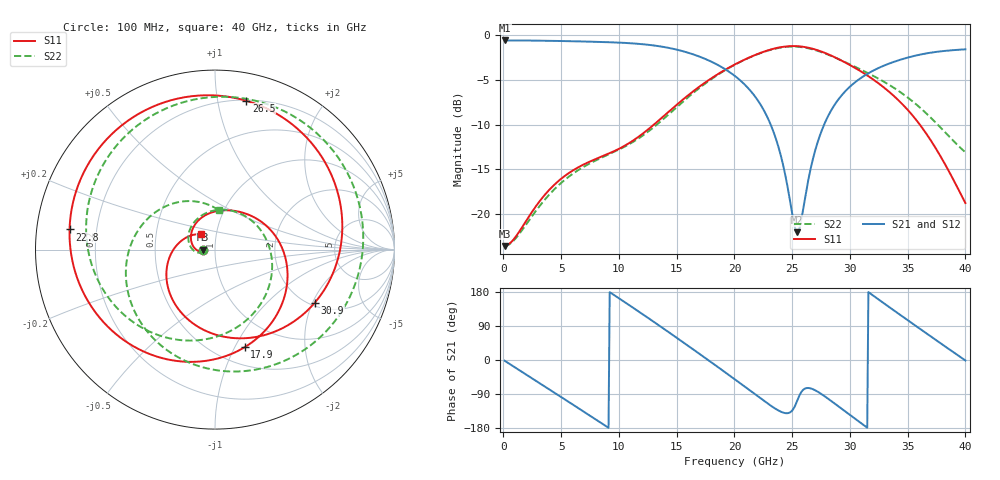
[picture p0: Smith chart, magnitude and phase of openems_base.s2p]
! B_ts6_L1L3_stub: ThunderScope stack: L1→In2, through via (stub to B.Cu)
! stackup: ThunderScope Rev5.3 6-layer (FR408HR / FR-4, from the board file)
! ports: 1, 2
! openEMS 0.37.0, staircase, base mesh (dfine 0.035 mm), 548856 cells
# Hz S RI R 50
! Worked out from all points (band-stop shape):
!   400 points, 100 MHz to 40 GHz, reference 50 ohm
!   highest |S21| = -0.60 dB at 100 MHz (marker M1); lowest = -22.0 dB at 25.4 GHz (marker M2)
!   |S21| within 3 dB of the highest: start of sweep to 18.93 GHz; 32.6 GHz to end of sweep
!   lowest |S11| = -23.5 dB at 100 MHz (marker M3), VSWR 1.14, Z = 43.8 - j0.086 ohm
!   |S11| at or under -10 dB: start of sweep to 13.02 GHz; 36.06 GHz to end of sweep
!   |S22| runs from -23.6 to -1.3 dB; largest |S21 - S12| = 0.0072
!   S11 on the Smith chart (normalised r, x): 100 MHz: 0.88, -0.00; 17.9 GHz: 0.68, -1.10; 22.8 GHz: 0.10, +0.07; 26.5 GHz: 0.21, +1.21; 30.9 GHz: 2.12, -2.08; 40 GHz: 0.84, +0.15
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1e8  -0.0665 -0.000978  0.9327 -0.0318  0.9329 -0.0318  -0.0664 -0.00123
1.8e9  -0.088 -0.00844  0.7623 -0.5373  0.7621 -0.5372  -0.0832 -0.0164
3.7e9  -0.1274 0.0307  0.2817 -0.8857  0.2819 -0.8858  -0.1232 -0.00115
6.8e9  -0.0909 0.1641  -0.6315 -0.671  -0.6315 -0.6711  -0.136 0.1205
9.9e9  0.0708 0.219  -0.8771 0.2365  -0.8771 0.2367  0.0508 0.2223
1.18e10  0.1967 0.1905  -0.5253 0.7214  -0.5257 0.7217  0.2289 0.1386
1.34e10  0.3156 0.1025  -0.0405 0.8674  -0.0403 0.8684  0.3165 -0.0543
1.59e10  0.3956 -0.2275  0.6186 0.5078  0.6206 0.5073  0.1358 -0.4236
1.79e10  0.166 -0.5433  0.714 -0.0492  0.7132 -0.0519  -0.2778 -0.4883
2.01e10  -0.3773 -0.5766  0.3576 -0.4658  0.3549 -0.4645  -0.6786 -0.1078
2.15e10  -0.6961 -0.306  0.05 -0.477  0.05 -0.4739  -0.6893 0.318
2.28e10  -0.8104 0.1123  -0.1392 -0.3254  -0.1367 -0.3242  -0.4323 0.6915
2.41e10  -0.6523 0.5571  -0.1492 -0.137  -0.1477 -0.1381  0.053 0.8516
2.54e10  -0.2427 0.8327  -0.0274 -0.0743  -0.0267 -0.0747  0.5683 0.6472
2.65e10  0.1739 0.8295  0.0456 -0.1614  0.0473 -0.1627  0.8084 0.2316
2.67e10  0.2446 0.8051  0.0466 -0.186  0.0484 -0.1877  0.822 0.1457
2.88e10  0.6946 0.273  -0.1951 -0.3716  -0.1988 -0.3753  0.4783 -0.571
3.09e10  0.5564 -0.2954  -0.5546 -0.1453  -0.559 -0.1397  -0.1521 -0.626
3.34e10  0.0309 -0.4813  -0.5289 0.4488  -0.523 0.4508  -0.4934 -0.1866
3.65e10  -0.269 -0.1052  0.2314 0.7531  0.2298 0.749  -0.2874 0.2355
3.84e10  -0.1719 0.0603  0.6905 0.439  0.6882 0.4394  -0.0896 0.2654
4e10  -0.078 0.0852  0.8324 -0.0179  0.8309 -0.0164  0.0204 0.2207
